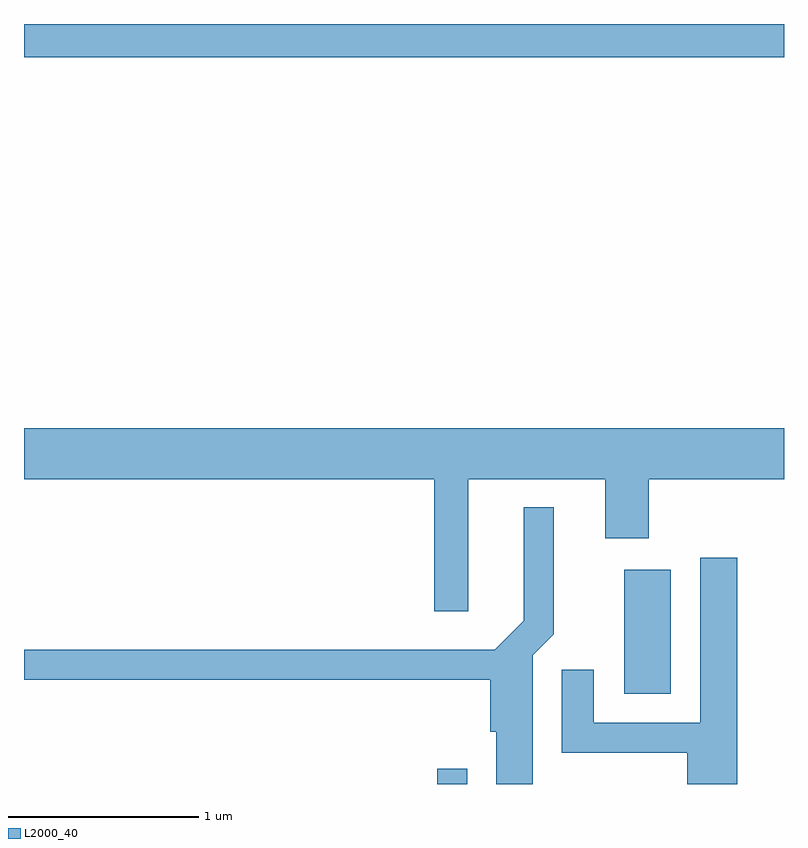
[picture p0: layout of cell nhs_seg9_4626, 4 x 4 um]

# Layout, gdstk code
import gdstk
lib = gdstk.Library(unit=1e-6, precision=1e-09)
def R(c, l, rs):  # rectangles x0, y0, x1, y1
    for r in rs: c.add(gdstk.rectangle(r[:2], r[2:], *l))
def P(c, l, *ps):  # polygons
    for p in ps: c.add(gdstk.Polygon(p, *l))
L2000_40 = (2000, 40)

nhs_seg9_4626 = lib.new_cell('nhs_seg9_4626')
R(nhs_seg9_4626, L2000_40, [(323.786,1992.432,323.944,1992.513), (324.771,1992.906,325.014,1993.559), (321.611,1996.256,325.611,1996.432)])
P(nhs_seg9_4626, L2000_40, [(323.949,1994.036),(324.671,1994.036),(324.671,1993.726),(324.899,1993.726),(324.899,1994.036),(325.611,1994.036),(325.611,1994.304),(321.611,1994.304),(321.611,1994.036),(323.771,1994.036),(323.771,1993.341),(323.949,1993.341)],
  [(324.289,1993.109),(324.399,1993.219),(324.399,1993.888),(324.241,1993.888),(324.241,1993.292),(324.089,1993.139),(321.611,1993.139),(321.611,1992.981),(324.066,1992.981),(324.066,1992.706),(324.096,1992.706),(324.096,1992.432),(324.289,1992.432)],
  [(325.364,1993.624),(325.171,1993.624),(325.171,1992.754),(324.609,1992.754),(324.609,1993.033),(324.441,1993.033),(324.441,1992.596),(325.101,1992.596),(325.101,1992.432),(325.364,1992.432)])

lib.write_gds('nhs_seg9_4626.gds')
